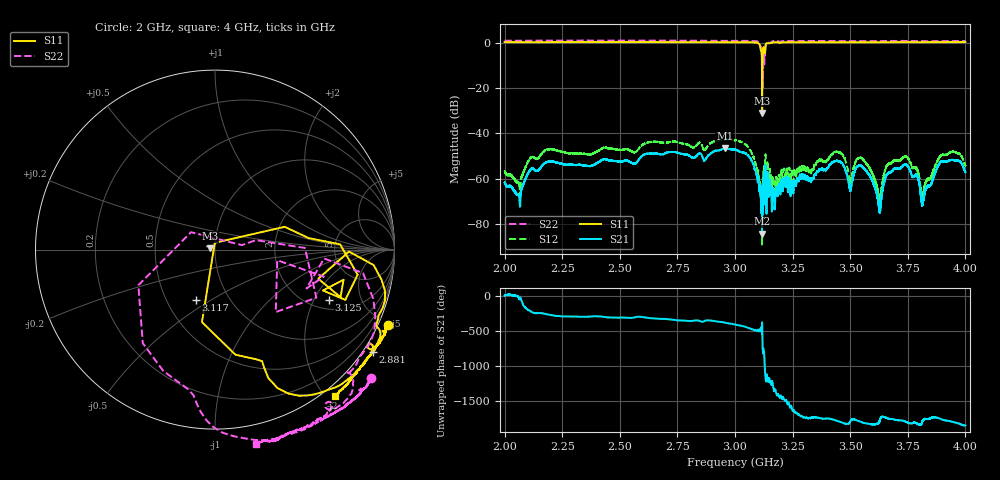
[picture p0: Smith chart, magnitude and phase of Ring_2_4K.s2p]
!Agilent Technologies,N5230C,SG49000117,A.08.50.07
!Agilent N5230C: A.08.50.07
!Date: Tuesday, May 07, 2024 00:28:01
!Correction: S11(Full 2 Port(1,2))
!S21(Full 2 Port(1,2))
!S12(Full 2 Port(1,2))
!S22(Full 2 Port(1,2))
!S2P File: Measurements: S11, S21, S12, S22:
# Hz S  MA  R 50
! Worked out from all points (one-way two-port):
!   20001 points, 2 GHz to 4 GHz, reference 50 ohm
!   highest |S21| = -46.62 dB at 2.956 GHz (marker M1); lowest = -84.3 dB at 3.117 GHz (marker M2)
!   lowest |S11| = -31.0 dB at 3.118 GHz (marker M3), VSWR 1.06, Z = 47.3 + j0.683 ohm
!   |S11| at or under -10 dB: 3.117052 GHz to 3.118858 GHz (1.806 MHz wide, 0.0579 % of centre)
!   |S22| runs from -19.6 to 1.2 dB; largest |S21 - S12| = 0.004
!   S11 on the Smith chart (normalised r, x): 2 GHz: -0.59, -4.70; 2.881 GHz: -0.30, -3.36; 3.117 GHz: 0.70, -0.43; 3.125 GHz: 2.44, -2.65; 4 GHz: -0.14, -2.11
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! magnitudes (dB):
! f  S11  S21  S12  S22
! 2 GHz  0.4  -61.7  -56.5  1.0
! 2.061 GHz  0.4  -67.0  -62.0  1.0
! 2.179 GHz  0.4  -52.8  -47.2  1.1
! 2.333 GHz  0.5  -54.0  -49.0  1.1
! 2.667 GHz  0.4  -49.0  -43.8  1.1
! 2.881 GHz  0.4  -50.2  -45.7  1.0
! 2.956 GHz  0.4  -46.6  -42.5  1.0
! 3 GHz  0.4  -47.1  -43.0  1.0
! 3.117 GHz  -10.4  -76.6  -77.2  -4.2
! 3.117 GHz  -12.5  -84.3  -89.9  -4.6
! 3.118 GHz  -31.0  -66.2  -67.3  -6.2
! 3.125 GHz  -3.2  -60.7  -57.1  -4.8
! 3.333 GHz  0.4  -60.0  -56.2  0.9
! 3.447 GHz  0.4  -52.2  -48.1  0.9
! 3.501 GHz  0.4  -65.1  -61.9  0.9
! 3.547 GHz  0.4  -54.2  -50.8  0.9
! 3.627 GHz  0.4  -73.8  -71.5  0.9
! 3.667 GHz  0.4  -57.4  -53.4  0.9
! 3.746 GHz  0.4  -54.0  -50.2  0.9
! 3.814 GHz  0.4  -71.2  -68.6  0.8
! 3.895 GHz  0.4  -52.4  -49.6  0.8
! 4 GHz  0.5  -57.1  -54.2  0.9
